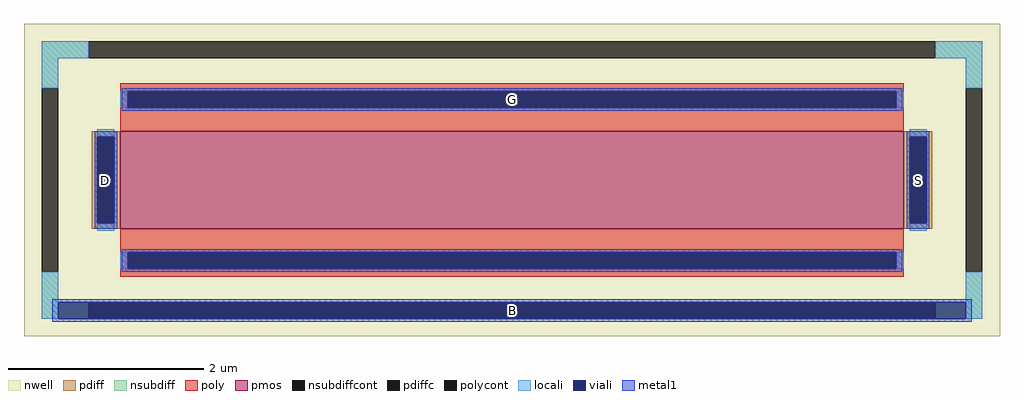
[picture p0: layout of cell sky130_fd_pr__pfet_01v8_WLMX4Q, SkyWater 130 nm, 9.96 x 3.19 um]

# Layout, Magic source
magic
tech sky130A
magscale 1 2
<< nwell >>
rect -996 -319 996 319
<< pmos >>
rect -800 -100 800 100
<< pdiff >>
rect -858 88 -800 100
rect -858 -88 -846 88
rect -812 -88 -800 88
rect -858 -100 -800 -88
rect 800 88 858 100
rect 800 -88 812 88
rect 846 -88 858 88
rect 800 -100 858 -88
<< pdiffc >>
rect -846 -88 -812 88
rect 812 -88 846 88
<< nsubdiff >>
rect -960 249 -864 283
rect 864 249 960 283
rect -960 187 -926 249
rect 926 187 960 249
rect -960 -249 -926 -187
rect 926 -249 960 -187
rect -960 -283 -864 -249
rect 864 -283 960 -249
<< nsubdiffcont >>
rect -864 249 864 283
rect -960 -187 -926 187
rect 926 -187 960 187
rect -864 -283 864 -249
<< poly >>
rect -800 181 800 197
rect -800 147 -784 181
rect 784 147 800 181
rect -800 100 800 147
rect -800 -147 800 -100
rect -800 -181 -784 -147
rect 784 -181 800 -147
rect -800 -197 800 -181
<< polycont >>
rect -784 147 784 181
rect -784 -181 784 -147
<< locali >>
rect -960 249 -864 283
rect 864 249 960 283
rect -960 187 -926 249
rect 926 187 960 249
rect -800 147 -784 181
rect 784 147 800 181
rect -846 88 -812 104
rect -846 -104 -812 -88
rect 812 88 846 104
rect 812 -104 846 -88
rect -800 -181 -784 -147
rect 784 -181 800 -147
rect -960 -283 -926 -187
rect 926 -283 960 -187
<< viali >>
rect -784 147 784 181
rect -846 -88 -812 88
rect 812 -88 846 88
rect -784 -181 784 -147
rect -926 -283 -864 -249
rect -864 -283 864 -249
rect 864 -283 926 -249
<< metal1 >>
rect -796 181 796 187
rect -796 147 -784 181
rect 784 147 796 181
rect -796 141 796 147
rect -852 88 -806 100
rect -852 -88 -846 88
rect -812 -88 -806 88
rect -852 -100 -806 -88
rect 806 88 852 100
rect 806 -88 812 88
rect 846 -88 852 88
rect 806 -100 852 -88
rect -796 -147 796 -141
rect -796 -181 -784 -147
rect 784 -181 796 -147
rect -796 -187 796 -181
rect -938 -249 938 -243
rect -938 -283 -926 -249
rect 926 -283 938 -249
rect -938 -289 938 -283
<< labels >>
rlabel nsubdiffcont 0 -266 0 -266 0 B
port 21 nsew
rlabel pdiffc -829 0 -829 0 0 D
port 22 nsew
rlabel pdiffc 829 0 829 0 0 S
port 23 nsew
rlabel polycont 0 164 0 164 0 G
port 24 nsew
<< properties >>
string FIXED_BBOX -943 -266 943 266
string gencell sky130_fd_pr__pfet_01v8
string library sky130
string parameters w 1.0 l 8.0 m 1 nf 1 diffcov 100 polycov 100 guard 1 glc 1 grc 1 gtc 1 gbc 1 tbcov 100 rlcov 100 topc 1 botc 1 poverlap 0 doverlap 1 lmin 0.15 wmin 0.42 class mosfet compatible {sky130_fd_pr__pfet_01v8  sky130_fd_pr__pfet_01v8_lvt sky130_fd_pr__pfet_01v8_hvt  sky130_fd_pr__pfet_g5v0d10v5} full_metal 1 conn_gates 0 viasrc 100 viadrn 100 viagate 100 viagb 100 viagr 0 viagl 0 viagt 0 doports 1
<< end >>
